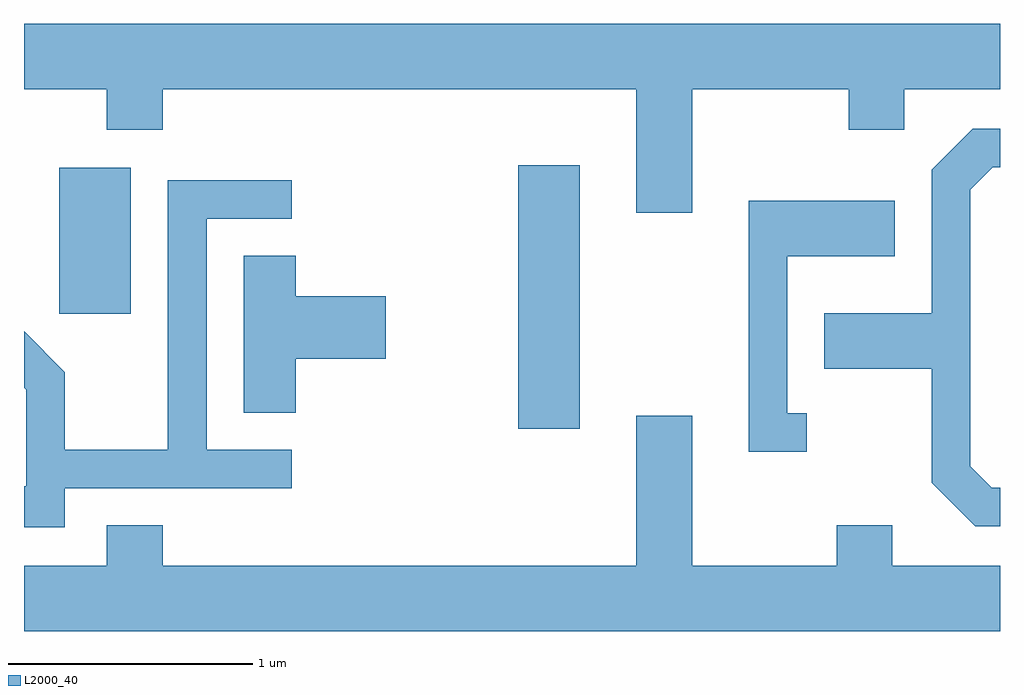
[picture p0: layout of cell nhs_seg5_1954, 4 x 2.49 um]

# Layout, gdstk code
import gdstk
lib = gdstk.Library(unit=1e-6, precision=1e-09)
def R(c, l, rs):  # rectangles x0, y0, x1, y1
    for r in rs: c.add(gdstk.rectangle(r[:2], r[2:], *l))
def P(c, l, *ps):  # polygons
    for p in ps: c.add(gdstk.Polygon(p, *l))
L2000_40 = (2000, 40)

nhs_seg5_1954 = lib.new_cell('nhs_seg5_1954')
R(nhs_seg5_1954, L2000_40, [(245.636,1417.666,245.889,1418.744), (243.756,1418.136,244.049,1418.734)])
P(nhs_seg5_1954, L2000_40, [(246.349,1419.056),(246.991,1419.056),(246.991,1418.891),(247.219,1418.891),(247.219,1419.056),(247.611,1419.056),(247.611,1419.324),(243.611,1419.324),(243.611,1419.056),(243.951,1419.056),(243.951,1418.891),(244.179,1418.891),(244.179,1419.056),(246.121,1419.056),(246.121,1418.551),(246.349,1418.551)],
  [(247.611,1417.424),(247.577,1417.424),(247.489,1417.512),(247.489,1418.644),(247.582,1418.736),(247.611,1418.736),(247.611,1418.894),(247.499,1418.894),(247.331,1418.727),(247.331,1418.139),(246.891,1418.139),(246.891,1417.911),(247.331,1417.911),(247.331,1417.444),(247.509,1417.266),(247.611,1417.266)],
  [(243.779,1417.421),(244.708,1417.421),(244.708,1417.579),(244.359,1417.579),(244.359,1418.526),(244.708,1418.526),(244.708,1418.684),(244.201,1418.684),(244.201,1417.579),(243.779,1417.579),(243.779,1417.897),(243.611,1418.065),(243.611,1417.834),(243.621,1417.824),(243.621,1417.429),(243.611,1417.429),(243.611,1417.261),(243.779,1417.261)],
  [(246.818,1417.729),(246.739,1417.729),(246.739,1418.371),(247.179,1418.371),(247.179,1418.599),(246.581,1418.599),(246.581,1417.571),(246.818,1417.571)],
  [(244.724,1417.951),(245.094,1417.951),(245.094,1418.209),(244.724,1418.209),(244.724,1418.374),(244.511,1418.374),(244.511,1417.731),(244.724,1417.731)],
  [(247.611,1417.104),(247.169,1417.104),(247.169,1417.269),(246.941,1417.269),(246.941,1417.104),(246.349,1417.104),(246.349,1417.719),(246.121,1417.719),(246.121,1417.104),(244.179,1417.104),(244.179,1417.269),(243.951,1417.269),(243.951,1417.104),(243.611,1417.104),(243.611,1416.836),(247.611,1416.836)])

lib.write_gds('nhs_seg5_1954.gds')
